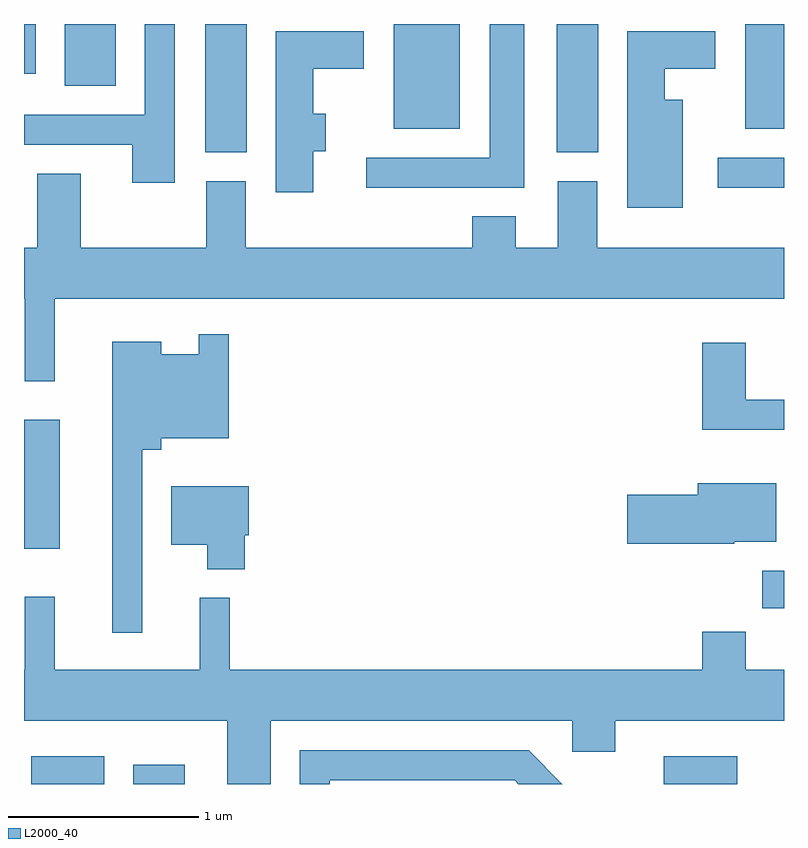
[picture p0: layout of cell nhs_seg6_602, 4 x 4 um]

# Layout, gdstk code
import gdstk
lib = gdstk.Library(unit=1e-6, precision=1e-09)
def R(c, l, rs):  # rectangles x0, y0, x1, y1
    for r in rs: c.add(gdstk.rectangle(r[:2], r[2:], *l))
def P(c, l, *ps):  # polygons
    for p in ps: c.add(gdstk.Polygon(p, *l))
L2000_40 = (2000, 40)

nhs_seg6_602 = lib.new_cell('nhs_seg6_602')
R(nhs_seg6_602, L2000_40, [(203.648,1534.162,204.034,1534.309), (204.186,1534.162,204.458,1534.264), (206.978,1534.162,207.364,1534.309), (207.496,1535.086,207.611,1535.284), (203.611,1535.401,203.799,1536.079), (207.263,1537.301,207.611,1537.459), (204.566,1537.486,204.784,1538.162), (206.416,1537.486,206.634,1538.162), (205.556,1537.611,205.904,1538.162), (207.406,1537.611,207.611,1538.162), (203.826,1537.836,204.094,1538.162), (203.611,1537.901,203.674,1538.162)])
P(nhs_seg6_602, L2000_40, [(206.244,1538.162),(206.061,1538.162),(206.061,1537.459),(205.413,1537.459),(205.413,1537.301),(206.244,1537.301)],
  [(204.404,1538.162),(204.246,1538.162),(204.246,1537.684),(203.611,1537.684),(203.611,1537.526),(204.181,1537.526),(204.181,1537.326),(204.404,1537.326)],
  [(205.134,1537.491),(205.199,1537.491),(205.199,1537.689),(205.134,1537.689),(205.134,1537.926),(205.399,1537.926),(205.399,1538.124),(204.936,1538.124),(204.936,1537.276),(205.134,1537.276)],
  [(207.079,1537.764),(206.984,1537.764),(206.984,1537.926),(207.249,1537.926),(207.249,1538.124),(206.786,1538.124),(206.786,1537.196),(207.079,1537.196)],
  [(203.774,1536.716),(207.611,1536.716),(207.611,1536.984),(206.629,1536.984),(206.629,1537.334),(206.421,1537.334),(206.421,1536.984),(206.199,1536.984),(206.199,1537.149),(205.971,1537.149),(205.971,1536.984),(204.779,1536.984),(204.779,1537.334),(204.571,1537.334),(204.571,1536.984),(203.909,1536.984),(203.909,1537.374),(203.681,1537.374),(203.681,1536.984),(203.611,1536.984),(203.611,1536.716),(203.616,1536.716),(203.616,1536.283),(203.774,1536.283)],
  [(204.234,1535.921),(204.334,1535.921),(204.334,1535.981),(204.689,1535.981),(204.689,1536.528),(204.531,1536.528),(204.531,1536.424),(204.334,1536.424),(204.334,1536.489),(204.076,1536.489),(204.076,1534.958),(204.234,1534.958)],
  [(207.611,1536.184),(207.409,1536.184),(207.409,1536.484),(207.181,1536.484),(207.181,1536.026),(207.611,1536.026)],
  [(207.35,1535.436),(207.569,1535.436),(207.569,1535.744),(207.156,1535.744),(207.156,1535.684),(206.786,1535.684),(206.786,1535.426),(207.35,1535.426)],
  [(204.774,1535.471),(204.794,1535.471),(204.794,1535.729),(204.386,1535.729),(204.386,1535.421),(204.576,1535.421),(204.576,1535.291),(204.774,1535.291)],
  [(204.909,1534.496),(206.496,1534.496),(206.496,1534.331),(206.724,1534.331),(206.724,1534.496),(207.611,1534.496),(207.611,1534.764),(207.409,1534.764),(207.409,1534.964),(207.181,1534.964),(207.181,1534.764),(204.694,1534.764),(204.694,1535.143),(204.536,1535.143),(204.536,1534.764),(203.774,1534.764),(203.774,1535.148),(203.616,1535.148),(203.616,1534.764),(203.611,1534.764),(203.611,1534.496),(204.681,1534.496),(204.681,1534.162),(204.909,1534.162)],
  [(205.219,1534.181),(206.194,1534.181),(206.213,1534.162),(206.444,1534.162),(206.267,1534.339),(205.061,1534.339),(205.061,1534.162),(205.219,1534.162)])

lib.write_gds('nhs_seg6_602.gds')
